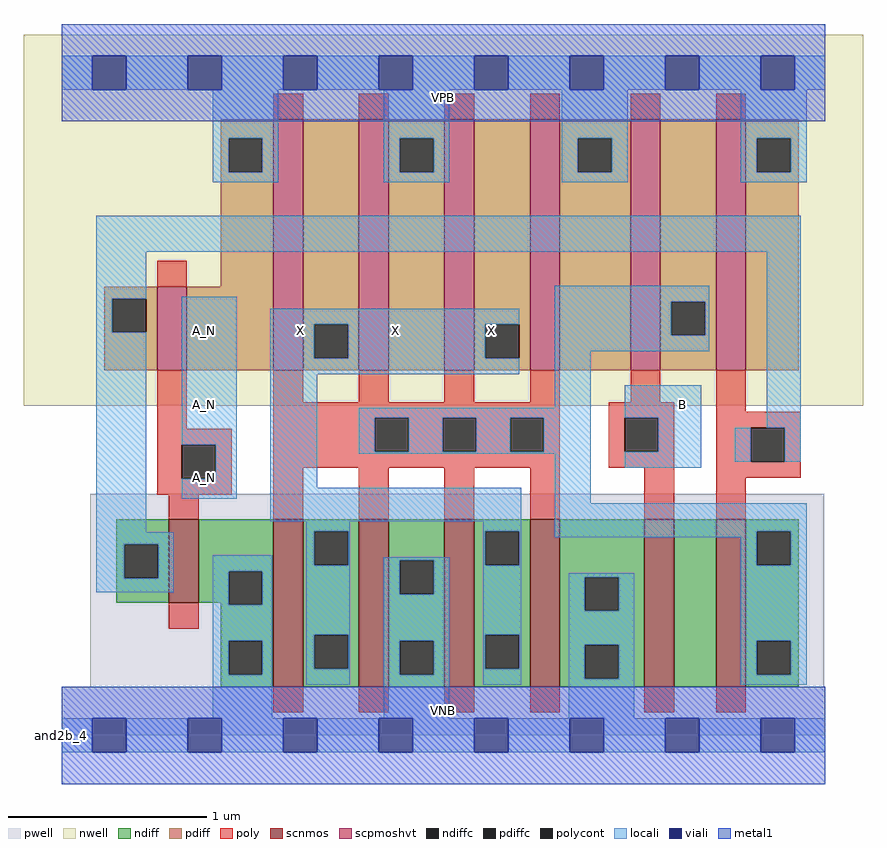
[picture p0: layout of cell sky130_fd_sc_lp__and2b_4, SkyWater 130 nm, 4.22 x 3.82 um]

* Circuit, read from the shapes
.subckt sky130_fd_sc_lp__and2b_4 A_N B VGND VNB VPB VPWR X
XM1 VGND A_N n1 VNB sky130_fd_pr__nfet_01v8 w=0.42 l=0.15
XM2 X n2 VGND VNB sky130_fd_pr__nfet_01v8 w=0.84 l=0.15 m=4
XM3 n3 B VGND VNB sky130_fd_pr__nfet_01v8 w=0.84 l=0.15
XM4 n2 n1 n3 VNB sky130_fd_pr__nfet_01v8 w=0.84 l=0.15
XM5 VPWR A_N n1 VPB sky130_fd_pr__pfet_01v8_hvt w=0.42 l=0.15
XM6 X n2 VPWR VPB sky130_fd_pr__pfet_01v8_hvt w=1.26 l=0.15 m=4
XM7 n2 B VPWR VPB sky130_fd_pr__pfet_01v8_hvt w=1.26 l=0.15
XM8 VPWR n1 n2 VPB sky130_fd_pr__pfet_01v8_hvt w=1.26 l=0.15
.ends

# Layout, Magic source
magic
tech sky130A
magscale 1 2
<< nwell >>
rect -38 331 806 704
<< pwell >>
rect 29 49 767 243
rect 0 0 768 49
<< scnmos >>
rect 108 133 138 217
rect 213 49 243 217
rect 299 49 329 217
rect 385 49 415 217
rect 471 49 501 217
rect 586 49 616 217
rect 658 49 688 217
<< scpmoshvt >>
rect 96 367 126 451
rect 213 367 243 619
rect 299 367 329 619
rect 385 367 415 619
rect 471 367 501 619
rect 572 367 602 619
rect 658 367 688 619
<< ndiff >>
rect 55 192 108 217
rect 55 158 63 192
rect 97 158 108 192
rect 55 133 108 158
rect 138 165 213 217
rect 138 133 168 165
rect 160 131 168 133
rect 202 131 213 165
rect 160 95 213 131
rect 160 61 168 95
rect 202 61 213 95
rect 160 49 213 61
rect 243 205 299 217
rect 243 171 254 205
rect 288 171 299 205
rect 243 101 299 171
rect 243 67 254 101
rect 288 67 299 101
rect 243 49 299 67
rect 329 176 385 217
rect 329 142 340 176
rect 374 142 385 176
rect 329 95 385 142
rect 329 61 340 95
rect 374 61 385 95
rect 329 49 385 61
rect 415 205 471 217
rect 415 171 426 205
rect 460 171 471 205
rect 415 101 471 171
rect 415 67 426 101
rect 460 67 471 101
rect 415 49 471 67
rect 501 159 586 217
rect 501 125 526 159
rect 560 125 586 159
rect 501 91 586 125
rect 501 57 526 91
rect 560 57 586 91
rect 501 49 586 57
rect 616 49 658 217
rect 688 205 741 217
rect 688 171 699 205
rect 733 171 741 205
rect 688 95 741 171
rect 688 61 699 95
rect 733 61 741 95
rect 688 49 741 61
<< pdiff >>
rect 160 600 213 619
rect 160 566 168 600
rect 202 566 213 600
rect 160 451 213 566
rect 43 439 96 451
rect 43 405 51 439
rect 85 405 96 439
rect 43 367 96 405
rect 126 367 213 451
rect 243 413 299 619
rect 243 379 254 413
rect 288 379 299 413
rect 243 367 299 379
rect 329 600 385 619
rect 329 566 340 600
rect 374 566 385 600
rect 329 367 385 566
rect 415 413 471 619
rect 415 379 426 413
rect 460 379 471 413
rect 415 367 471 379
rect 501 600 572 619
rect 501 566 519 600
rect 553 566 572 600
rect 501 367 572 566
rect 602 436 658 619
rect 602 402 613 436
rect 647 402 658 436
rect 602 367 658 402
rect 688 600 741 619
rect 688 566 699 600
rect 733 566 741 600
rect 688 367 741 566
<< ndiffc >>
rect 63 158 97 192
rect 168 131 202 165
rect 168 61 202 95
rect 254 171 288 205
rect 254 67 288 101
rect 340 142 374 176
rect 340 61 374 95
rect 426 171 460 205
rect 426 67 460 101
rect 526 125 560 159
rect 526 57 560 91
rect 699 171 733 205
rect 699 61 733 95
<< pdiffc >>
rect 168 566 202 600
rect 51 405 85 439
rect 254 379 288 413
rect 340 566 374 600
rect 426 379 460 413
rect 519 566 553 600
rect 613 402 647 436
rect 699 566 733 600
<< poly >>
rect 213 619 243 645
rect 299 619 329 645
rect 385 619 415 645
rect 471 619 501 645
rect 572 619 602 645
rect 658 619 688 645
rect 96 451 126 477
rect 96 308 126 367
rect 213 335 243 367
rect 299 335 329 367
rect 385 335 415 367
rect 471 335 501 367
rect 572 335 602 367
rect 213 319 501 335
rect 96 292 171 308
rect 96 258 121 292
rect 155 258 171 292
rect 96 242 171 258
rect 213 285 315 319
rect 349 285 383 319
rect 417 285 451 319
rect 485 285 501 319
rect 213 269 501 285
rect 550 319 616 335
rect 550 285 566 319
rect 600 285 616 319
rect 550 269 616 285
rect 108 217 138 242
rect 213 217 243 269
rect 299 217 329 269
rect 385 217 415 269
rect 471 217 501 269
rect 586 217 616 269
rect 658 325 688 367
rect 658 309 743 325
rect 658 275 693 309
rect 727 275 743 309
rect 658 259 743 275
rect 658 217 688 259
rect 108 107 138 133
rect 213 23 243 49
rect 299 23 329 49
rect 385 23 415 49
rect 471 23 501 49
rect 586 23 616 49
rect 658 23 688 49
<< polycont >>
rect 121 258 155 292
rect 315 285 349 319
rect 383 285 417 319
rect 451 285 485 319
rect 566 285 600 319
rect 693 275 727 309
<< locali >>
rect 0 649 31 683
rect 65 649 127 683
rect 161 649 223 683
rect 257 649 319 683
rect 353 649 415 683
rect 449 649 511 683
rect 545 649 607 683
rect 641 649 703 683
rect 737 649 768 683
rect 152 600 218 649
rect 152 566 168 600
rect 202 566 218 600
rect 152 556 218 566
rect 324 600 390 649
rect 324 566 340 600
rect 374 566 390 600
rect 324 556 390 566
rect 503 600 569 649
rect 503 566 519 600
rect 553 566 569 600
rect 503 556 569 566
rect 683 600 749 649
rect 683 566 699 600
rect 733 566 749 600
rect 683 556 749 566
rect 35 486 743 522
rect 35 439 85 486
rect 35 405 51 439
rect 35 204 85 405
rect 121 292 176 441
rect 496 436 651 452
rect 155 258 176 292
rect 121 238 176 258
rect 210 413 460 429
rect 210 379 254 413
rect 288 379 426 413
rect 210 363 460 379
rect 496 402 613 436
rect 647 402 651 436
rect 496 386 651 402
rect 210 249 257 363
rect 496 329 532 386
rect 299 319 532 329
rect 299 285 315 319
rect 349 285 383 319
rect 417 285 451 319
rect 485 285 532 319
rect 299 283 532 285
rect 210 215 462 249
rect 246 205 290 215
rect 35 192 113 204
rect 35 158 63 192
rect 97 158 113 192
rect 35 144 113 158
rect 152 165 212 181
rect 152 131 168 165
rect 202 131 212 165
rect 152 95 212 131
rect 152 61 168 95
rect 202 61 212 95
rect 152 17 212 61
rect 246 171 254 205
rect 288 171 290 205
rect 424 205 462 215
rect 246 101 290 171
rect 246 67 254 101
rect 288 67 290 101
rect 246 51 290 67
rect 324 176 390 179
rect 324 142 340 176
rect 374 142 390 176
rect 324 95 390 142
rect 324 61 340 95
rect 374 61 390 95
rect 324 17 390 61
rect 424 171 426 205
rect 460 171 462 205
rect 496 233 532 283
rect 566 319 643 352
rect 600 285 643 319
rect 709 309 743 486
rect 566 269 643 285
rect 677 275 693 309
rect 727 275 743 309
rect 496 205 749 233
rect 496 199 699 205
rect 424 101 462 171
rect 683 171 699 199
rect 733 171 749 205
rect 424 67 426 101
rect 460 67 462 101
rect 424 51 462 67
rect 510 159 576 163
rect 510 125 526 159
rect 560 125 576 159
rect 510 91 576 125
rect 510 57 526 91
rect 560 57 576 91
rect 510 17 576 57
rect 683 95 749 171
rect 683 61 699 95
rect 733 61 749 95
rect 683 51 749 61
rect 0 -17 31 17
rect 65 -17 127 17
rect 161 -17 223 17
rect 257 -17 319 17
rect 353 -17 415 17
rect 449 -17 511 17
rect 545 -17 607 17
rect 641 -17 703 17
rect 737 -17 768 17
<< viali >>
rect 31 649 65 683
rect 127 649 161 683
rect 223 649 257 683
rect 319 649 353 683
rect 415 649 449 683
rect 511 649 545 683
rect 607 649 641 683
rect 703 649 737 683
rect 31 -17 65 17
rect 127 -17 161 17
rect 223 -17 257 17
rect 319 -17 353 17
rect 415 -17 449 17
rect 511 -17 545 17
rect 607 -17 641 17
rect 703 -17 737 17
<< metal1 >>
rect 0 683 768 715
rect 0 649 31 683
rect 65 649 127 683
rect 161 649 223 683
rect 257 649 319 683
rect 353 649 415 683
rect 449 649 511 683
rect 545 649 607 683
rect 641 649 703 683
rect 737 649 768 683
rect 0 617 768 649
rect 0 17 768 49
rect 0 -17 31 17
rect 65 -17 127 17
rect 161 -17 223 17
rect 257 -17 319 17
rect 353 -17 415 17
rect 449 -17 511 17
rect 545 -17 607 17
rect 641 -17 703 17
rect 737 -17 768 17
rect 0 -49 768 -17
<< labels >>
flabel pwell s 0 0 768 49 0 FreeSans 200 0 0 0 VNB
port 4 nsew ground bidirectional
flabel nwell s 0 617 768 666 0 FreeSans 200 0 0 0 VPB
port 5 nsew power bidirectional
rlabel comment s 0 0 0 0 4 and2b_4
flabel metal1 s 0 617 768 666 0 FreeSans 340 0 0 0 VPWR
port 6 nsew power bidirectional
flabel metal1 s 0 0 768 49 0 FreeSans 340 0 0 0 VGND
port 3 nsew ground bidirectional
flabel locali s 607 316 641 350 0 FreeSans 340 0 0 0 B
port 2 nsew signal input
flabel locali s 127 242 161 276 0 FreeSans 340 0 0 0 A_N
port 1 nsew signal input
flabel locali s 127 316 161 350 0 FreeSans 340 0 0 0 A_N
port 1 nsew signal input
flabel locali s 127 390 161 424 0 FreeSans 340 0 0 0 A_N
port 1 nsew signal input
flabel locali s 223 390 257 424 0 FreeSans 340 0 0 0 X
port 7 nsew signal output
flabel locali s 319 390 353 424 0 FreeSans 340 0 0 0 X
port 7 nsew signal output
flabel locali s 415 390 449 424 0 FreeSans 340 0 0 0 X
port 7 nsew signal output
<< properties >>
string LEFsite unit
string LEFclass CORE
string FIXED_BBOX 0 0 768 666
string GDS_FILE $PDKPATH/libs.ref/sky130_fd_sc_lp/gds/sky130_fd_sc_lp.gds
string LEFsymmetry X Y R90
string GDS_END 5133220
string GDS_START 5126718
<< end >>
